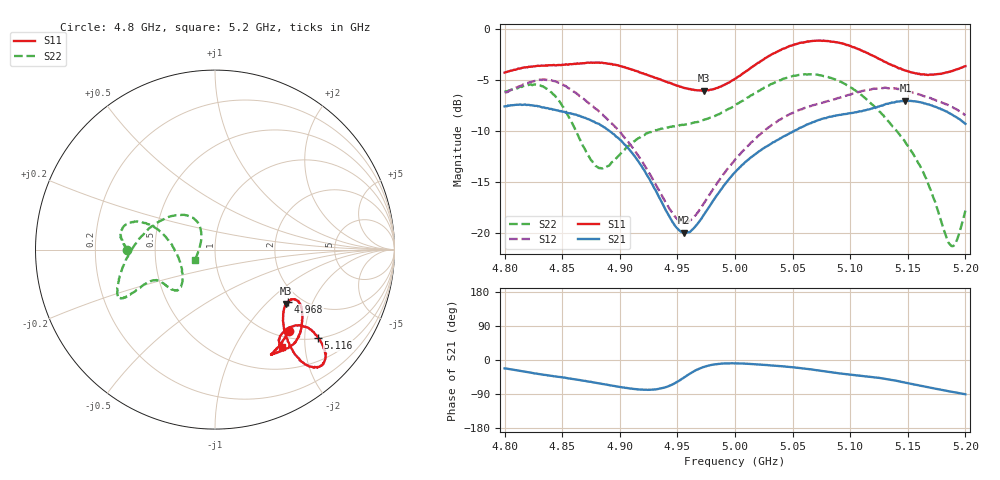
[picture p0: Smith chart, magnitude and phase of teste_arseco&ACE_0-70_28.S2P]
! Network Analyzer HP8722D
! Hewlett-Packard
! Data name: Linha & Wilkinson
! Saver's name: Rodrigo Anjos
! Comments: Teste da utilização de aquisição
! continua pelo VNA HP8722D
! Time and date: 8/5/2025 12:59
!  Frequency  S11  S21  S12  S22
# HZ  S  MA R 50
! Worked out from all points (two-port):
!   401 points, 4.8 GHz to 5.2 GHz, reference 50 ohm
!   highest |S21| = -7.04 dB at 5.148 GHz (marker M1); lowest = -20.0 dB at 4.956 GHz (marker M2)
!   |S21| within 3 dB of the highest: start of sweep to 4.891 GHz; 5.051 GHz to end of sweep
!   lowest |S11| = -6.1 dB at 4.973 GHz (marker M3), VSWR 2.98, Z = 82.8 - j66.1 ohm
!   |S11| at or under -10 dB: nowhere
!   |S22| runs from -21.3 to -4.4 dB; largest |S21 - S12| = 0.95
!   S11 on the Smith chart (normalised r, x): 4.8 GHz: 1.14, -1.64; 4.968 GHz: 1.72, -1.33; 5.116 GHz: 1.01, -2.33; 5.2 GHz: 0.82, -1.57
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4.8e9  0.6109 -47.7  0.4173 -22.3  0.4862 -175.9  0.4919 -179.8
4.821e9  0.6532 -58.4  0.4245 -32.7  0.5461 176.7  0.5316 171.3
4.837e9  0.6607 -61.9  0.409 -40.5  0.5627 167.4  0.5078 163.3
4.851e9  0.6676 -59.7  0.3929 -46.4  0.5309 158.6  0.4127 159.0
4.867e9  0.678 -54.8  0.3701 -53.9  0.4618 150.9  0.2751 167.1
4.886e9  0.6804 -48.5  0.3299 -63.7  0.3747 144.1  0.2086 -158.2
4.91e9  0.6335 -40.2  0.249 -75.6  0.2665 137.6  0.2753 -133.1
4.934e9  0.5681 -33.0  0.1496 -76.1  0.1616 141.2  0.3212 -135.5
4.956e9  0.5133 -32.6  0.09985 -45.7  0.112 172.6  0.3388 -144.6
4.968e9  0.5004 -35.5  0.1115 -24.4  0.1263 -166.1  0.3499 -149.3
4.973e9  0.4976 -37.1  0.1224 -18.4  0.1393 -160.0  0.358 -150.9
5e9  0.5698 -47.8  0.1977 -8.9  0.2283 -146.7  0.422 -154.0
5.039e9  0.7856 -52.4  0.2898 -16.1  0.3587 -148.0  0.5605 -151.9
5.067e9  0.874 -48.3  0.3481 -25.3  0.4216 -154.4  0.599 -155.0
5.088e9  0.8615 -44.4  0.3766 -34.1  0.4552 -159.9  0.5615 -162.3
5.116e9  0.7565 -40.5  0.4025 -44.0  0.5037 -171.9  0.4426 175.6
5.134e9  0.6729 -40.1  0.4323 -51.6  0.5121 177.4  0.3479 153.1
5.148e9  0.6254 -42.6  0.4444 -59.8  0.4982 169.4  0.2774 135.6
5.165e9  0.5963 -48.0  0.4312 -70.6  0.4656 161.4  0.1886 122.8
5.187e9  0.6179 -55.0  0.3838 -83.4  0.4187 153.7  0.08699 158.8
5.192e9  0.633 -55.6  0.3691 -85.9  0.4043 152.0  0.09005 -177.9
5.2e9  0.6572 -55.7  0.3423 -90.6  0.3773 149.5  0.1282 -152.0
